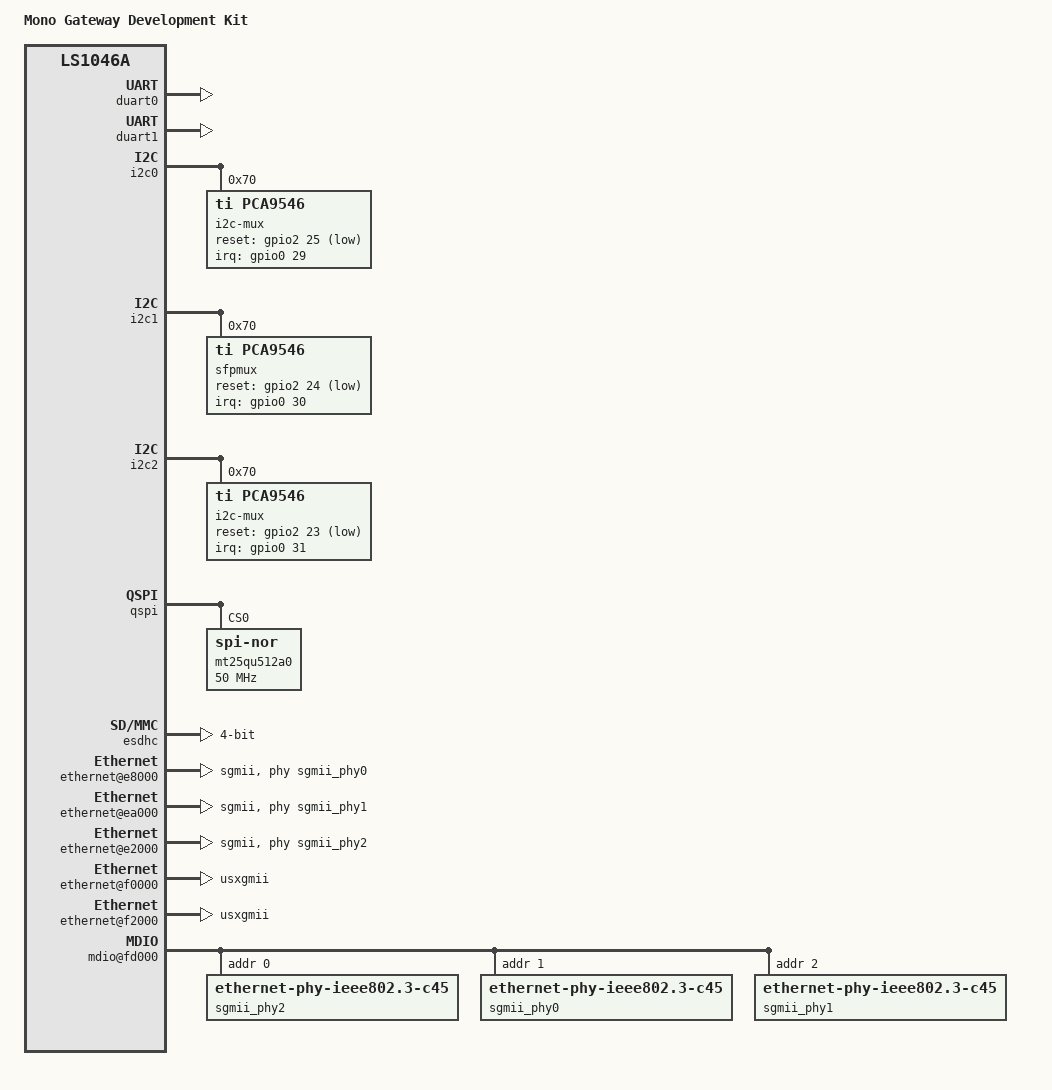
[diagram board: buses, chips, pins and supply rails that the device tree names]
// SPDX-License-Identifier: GPL-2.0+ OR X11
/*
 * Device Tree Include file for Gateway Development Kit.
 *
 * Copyright 2025 Mono Technologies Inc.
 *
 * GPIOs 384-415, /soc/gpio@2330000: GPIO4[0-31] &gpio3
 * GPIOs 416-447, /soc/gpio@2320000: GPIO3[0-31] &gpio2
 * GPIOs 448-479, /soc/gpio@2310000: GPIO2[0-31] &gpio1
 * GPIOs 480-511, /soc/gpio@2300000: GPIO1[0-31] &gpio0
 *
 */

#include <dt-bindings/leds/common.h>
#include <dt-bindings/gpio/gpio.h>

/dts-v1/;
#include "fsl-ls1046a.dtsi"

/ {
	model = "Mono Gateway Development Kit";

	aliases {
		spi0 = &qspi;
		serial0 = &duart0;
		serial1 = &duart1;
		mdio0 = &xmdio0;
	};

	chosen {
		stdout-path = "serial0:115200n8";
	};
};

&duart0 {
	bootph-all;
	status = "okay";
};

&duart1 {
	bootph-all;
	status = "okay";
};

&gpio0 {
    status = "okay";
};

&gpio1 {
    status = "okay";
};

&gpio2 {
    status = "okay";
};

&gpio3 {
    status = "okay";
};

&i2c0 {
	status = "okay";

	/* Thermal sensors, retimer, clock genenerator, PWM fan */
	i2c-mux@70 {
		compatible = "ti,pca9546";
		reg = <0x70>;
		#address-cells = <1>;
		#size-cells = <0>;
		reset-gpios = <&gpio2 25 GPIO_ACTIVE_LOW>;

		interrupt-parent = <&gpio0>;
		interrupts = <29 IRQ_TYPE_LEVEL_LOW>;
		interrupt-controller;
		#interrupt-cells = <2>;
	};
};

&i2c1 {
	status = "okay";

	/* SFP+ modules */
	sfpmux: i2c-mux@70 {
		compatible = "ti,pca9546";
		reg = <0x70>;
		#address-cells = <1>;
		#size-cells = <0>;
		reset-gpios = <&gpio2 24 GPIO_ACTIVE_LOW>;

		interrupt-parent = <&gpio0>;
		interrupts = <30 IRQ_TYPE_LEVEL_LOW>;
		interrupt-controller;
		#interrupt-cells = <2>;
    };
};

&i2c2 {
	status = "okay";

	/*  */
	i2c-mux@70 {
		compatible = "ti,pca9546";
		reg = <0x70>;
		#address-cells = <1>;
		#size-cells = <0>;
		reset-gpios = <&gpio2 23 GPIO_ACTIVE_LOW>;

		interrupt-parent = <&gpio0>;
		interrupts = <31 IRQ_TYPE_LEVEL_LOW>;
		interrupt-controller;
		#interrupt-cells = <2>;
	};
};

&qspi {
	status = "okay";

	mt25qu512a0: flash@0 {
		#address-cells = <1>;
		#size-cells = <1>;
		compatible = "jedec,spi-nor";
		spi-max-frequency = <50000000>;
		reg = <0>;
	};

};

&esdhc {
	mmc-hs200-1_8v;
	bus-width = <4>;
	status = "okay";
};

#include "fsl-ls1046-post.dtsi"

&fman0 {
	ethernet@e0000 {
		status = "disabled";
	};

	ethernet@e4000 {
		status = "disabled";
	};

	ethernet@e6000 {
		status = "disabled";
	};

	ethernet@e8000 {
		phy-handle = <&sgmii_phy0>;
		phy-connection-type = "sgmii";
		status = "okay";
	};

	ethernet@ea000 {
		phy-handle = <&sgmii_phy1>;
		phy-connection-type = "sgmii";
		status = "okay";
	};


	ethernet@e2000 {
		phy-handle = <&sgmii_phy2>;
		phy-connection-type = "sgmii";
		status = "okay";
	};

	ethernet@f0000 { 
		fixed-link = <0 1 1000 0 0>;
		phy-connection-type = "usxgmii";
		status = "okay";
	};

	ethernet@f2000 {
		fixed-link = <0 1 1000 0 0>;
		phy-connection-type = "usxgmii";
		status = "okay";
	};

	mdio@fd000 {
		sgmii_phy2: ethernet-phy@0 {
			compatible = "ethernet-phy-ieee802.3-c45";
			reg = <0x0>;
		};

		sgmii_phy0: ethernet-phy@1 {
			compatible = "ethernet-phy-ieee802.3-c45";
			reg = <0x1>;
		};

		sgmii_phy1: ethernet-phy@2 {
			compatible = "ethernet-phy-ieee802.3-c45";
			reg = <0x2>;
		};
	};
};
